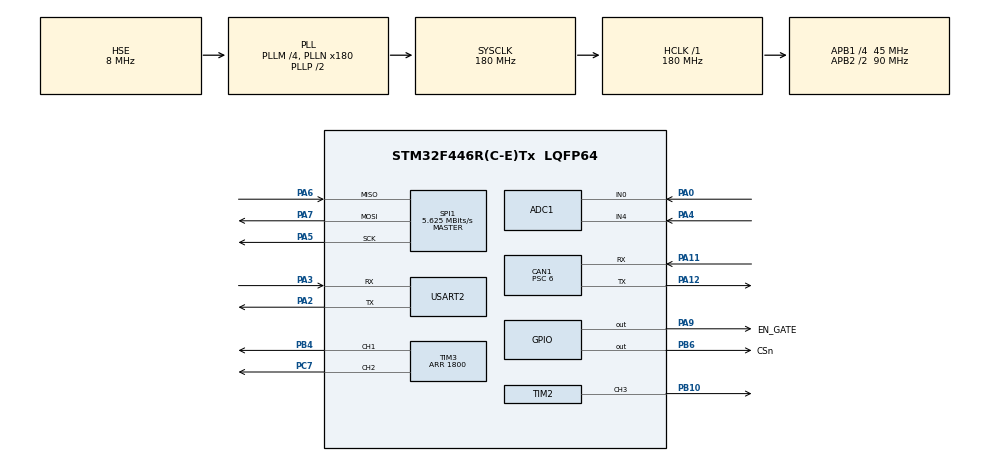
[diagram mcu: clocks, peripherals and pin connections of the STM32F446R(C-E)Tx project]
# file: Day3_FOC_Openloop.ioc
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ADC1.Channel-0\#ChannelRegularConversion=ADC_CHANNEL_0
ADC1.Channel-1\#ChannelRegularConversion=ADC_CHANNEL_4
ADC1.DMAContinuousRequests=ENABLE
ADC1.ExternalTrigConv=ADC_EXTERNALTRIGCONV_T3_TRGO
ADC1.NbrOfConversion=2
ADC1.NbrOfConversionFlag=1
ADC1.Rank-0\#ChannelRegularConversion=1
ADC1.Rank-1\#ChannelRegularConversion=2
ADC1.SamplingTime-0\#ChannelRegularConversion=ADC_SAMPLETIME_84CYCLES
ADC1.SamplingTime-1\#ChannelRegularConversion=ADC_SAMPLETIME_84CYCLES
ADC1.ScanConvMode=ENABLE
ADC1.master=1
CAN1.BS1=CAN_BS1_12TQ
CAN1.BS2=CAN_BS2_2TQ
CAN1.CalculateBaudRate=500000
CAN1.CalculateTimeBit=2000
CAN1.CalculateTimeQuantum=133.33333333333331
CAN1.Prescaler=6
Dma.ADC1.0.Direction=DMA_PERIPH_TO_MEMORY
Dma.ADC1.0.FIFOMode=DMA_FIFOMODE_DISABLE
Dma.ADC1.0.Instance=DMA2_Stream0
Dma.ADC1.0.MemDataAlignment=DMA_MDATAALIGN_HALFWORD
Dma.ADC1.0.MemInc=DMA_MINC_ENABLE
Dma.ADC1.0.Mode=DMA_CIRCULAR
Dma.ADC1.0.PeriphDataAlignment=DMA_PDATAALIGN_HALFWORD
Dma.ADC1.0.PeriphInc=DMA_PINC_DISABLE
Dma.ADC1.0.Priority=DMA_PRIORITY_LOW
Dma.Request0=ADC1
Dma.Request1=SPI1_RX
Dma.Request2=SPI1_TX
Dma.SPI1_RX.1.Direction=DMA_PERIPH_TO_MEMORY
Dma.SPI1_RX.1.FIFOMode=DMA_FIFOMODE_DISABLE
Dma.SPI1_RX.1.Instance=DMA2_Stream2
Dma.SPI1_RX.1.MemDataAlignment=DMA_MDATAALIGN_BYTE
Dma.SPI1_RX.1.MemInc=DMA_MINC_ENABLE
Dma.SPI1_RX.1.Mode=DMA_NORMAL
Dma.SPI1_RX.1.PeriphDataAlignment=DMA_PDATAALIGN_BYTE
Dma.SPI1_RX.1.PeriphInc=DMA_PINC_DISABLE
Dma.SPI1_RX.1.Priority=DMA_PRIORITY_LOW
Dma.SPI1_TX.2.Direction=DMA_MEMORY_TO_PERIPH
Dma.SPI1_TX.2.FIFOMode=DMA_FIFOMODE_DISABLE
Dma.SPI1_TX.2.Instance=DMA2_Stream3
Dma.SPI1_TX.2.MemDataAlignment=DMA_MDATAALIGN_BYTE
Dma.SPI1_TX.2.MemInc=DMA_MINC_ENABLE
Dma.SPI1_TX.2.Mode=DMA_NORMAL
Dma.SPI1_TX.2.PeriphDataAlignment=DMA_PDATAALIGN_BYTE
Dma.SPI1_TX.2.PeriphInc=DMA_PINC_DISABLE
Dma.SPI1_TX.2.Priority=DMA_PRIORITY_LOW
Mcu.Family=STM32F4
Mcu.Name=STM32F446R(C-E)Tx
Mcu.Package=LQFP64
NVIC.CAN1_RX0_IRQn=true\:0\:0\:false\:false\:true\:true\:true\:true
NVIC.DMA2_Stream0_IRQn=true\:0\:0\:false\:false\:true\:false\:true\:true
NVIC.DMA2_Stream2_IRQn=true\:0\:2\:false\:false\:true\:false\:true\:true
NVIC.DMA2_Stream3_IRQn=true\:0\:2\:false\:false\:true\:false\:true\:true
NVIC.PriorityGroup=NVIC_PRIORITYGROUP_0
NVIC.SPI1_IRQn=true\:0\:2\:false\:false\:true\:true\:true\:true
NVIC.TIM3_IRQn=true\:0\:0\:false\:false\:true\:true\:true\:true
NVIC.USART2_IRQn=true\:0\:0\:false\:false\:true\:true\:true\:true
PA0-WKUP.Signal=ADCx_IN0
PA11.Mode=CAN_Activate
PA11.Signal=CAN1_RX
PA12.Mode=CAN_Activate
PA12.Signal=CAN1_TX
PA13.Mode=Serial_Wire
PA13.Signal=SYS_JTMS-SWDIO
PA14.Mode=Serial_Wire
PA14.Signal=SYS_JTCK-SWCLK
PA2.Mode=Asynchronous
PA2.Signal=USART2_TX
PA3.Mode=Asynchronous
PA3.Signal=USART2_RX
PA4.Signal=ADCx_IN4
PA5.Mode=Full_Duplex_Master
PA5.Signal=SPI1_SCK
PA6.Mode=Full_Duplex_Master
PA6.Signal=SPI1_MISO
PA7.Mode=Full_Duplex_Master
PA7.Signal=SPI1_MOSI
PA9.GPIO_Label=EN_GATE
PA9.PinState=GPIO_PIN_SET
PA9.Signal=GPIO_Output
PB10.GPIO_Speed=GPIO_SPEED_FREQ_HIGH
PB10.Signal=S_TIM2_CH3
PB4.Signal=S_TIM3_CH1
PB6.GPIO_Label=CSn
PB6.GPIO_PuPd=GPIO_PULLUP
PB6.GPIO_Speed=GPIO_SPEED_FREQ_HIGH
PB6.PinState=GPIO_PIN_SET
PB6.Signal=GPIO_Output
PC7.GPIO_Speed=GPIO_SPEED_FREQ_HIGH
PC7.Signal=S_TIM3_CH2
PH0-OSC_IN.Mode=HSE-External-Oscillator
PH0-OSC_IN.Signal=RCC_OSC_IN
PH1-OSC_OUT.Mode=HSE-External-Oscillator
PH1-OSC_OUT.Signal=RCC_OSC_OUT
ProjectManager.HeapSize=0x200
ProjectManager.StackSize=0x400
ProjectManager.TargetToolchain=STM32CubeIDE
RCC.48MHZClocksFreq_Value=84000000
RCC.AHBFreq_Value=180000000
RCC.APB1CLKDivider=RCC_HCLK_DIV4
RCC.APB1Freq_Value=45000000
RCC.APB1TimFreq_Value=90000000
RCC.APB2CLKDivider=RCC_HCLK_DIV2
RCC.APB2Freq_Value=90000000
RCC.APB2TimFreq_Value=180000000
RCC.CortexFreq_Value=180000000
RCC.FLatency-AdvancedSettings=FLASH_LATENCY_5
RCC.HCLKFreq_Value=180000000
RCC.HSE_VALUE=8000000
RCC.HSI_VALUE=16000000
RCC.PLLM=4
RCC.PLLN=180
RCC.PLLSourceVirtual=RCC_PLLSOURCE_HSE
RCC.SYSCLKFreq_VALUE=180000000
RCC.SYSCLKSource=RCC_SYSCLKSOURCE_PLLCLK
RCC.USBFreq_Value=180000000
RCC.VCOOutputFreq_Value=360000000
SH.ADCx_IN0.0=ADC1_IN0,IN0
SH.ADCx_IN4.0=ADC1_IN4,IN4
SH.S_TIM2_CH3.0=TIM2_CH3,PWM Generation3 CH3
SH.S_TIM3_CH1.0=TIM3_CH1,PWM Generation1 CH1
SH.S_TIM3_CH2.0=TIM3_CH2,PWM Generation2 CH2
SPI1.BaudRatePrescaler=SPI_BAUDRATEPRESCALER_16
SPI1.CLKPhase=SPI_PHASE_2EDGE
SPI1.CalculateBaudRate=5.625 MBits/s
SPI1.Direction=SPI_DIRECTION_2LINES
SPI1.Mode=SPI_MODE_MASTER
SPI1.VirtualType=VM_MASTER
TIM2.AutoReloadPreload=TIM_AUTORELOAD_PRELOAD_ENABLE
TIM2.Channel-PWM\ Generation3\ CH3=TIM_CHANNEL_3
TIM2.CounterMode=TIM_COUNTERMODE_CENTERALIGNED3
TIM2.Period=1800
TIM2.Pulse-PWM\ Generation3\ CH3=900
TIM2.TIM_MasterOutputTrigger=TIM_TRGO_UPDATE
TIM2.TIM_MasterSlaveMode=TIM_MASTERSLAVEMODE_ENABLE
TIM3.AutoReloadPreload=TIM_AUTORELOAD_PRELOAD_ENABLE
TIM3.Channel-PWM\ Generation1\ CH1=TIM_CHANNEL_1
TIM3.Channel-PWM\ Generation2\ CH2=TIM_CHANNEL_2
TIM3.CounterMode=TIM_COUNTERMODE_CENTERALIGNED3
TIM3.Period=1800
TIM3.Pulse-PWM\ Generation2\ CH2=900
TIM3.TIM_MasterOutputTrigger=TIM_TRGO_UPDATE
TIM3.TIM_MasterSlaveMode=TIM_MASTERSLAVEMODE_ENABLE
USART2.VirtualMode=VM_ASYNC
board=NUCLEO-F446RE

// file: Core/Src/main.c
/* USER CODE BEGIN Header */
/**串口用不了，我在debug里面改theta_target，可以实现控制。希望能优化一下，然后在theta_multi不断增大过程中，电机出现了抖动，在theta_multi不断减小的过程中，电机抖动明显减弱非常多。
 * 这是一个有意思的点。把这个弄完之后，我们就停下来了，准备弄CAN通信了，然后开始上传github，当成制作简历的一个项目。
  ******************************************************************************
  * @file           : main.c
  * @brief          : Main program body
  ******************************************************************************
  * @attention
  *
  * Copyright (c) 2026 STMicroelectronics.
  * All rights reserved.
  *
  * This software is licensed under terms that can be found in the LICENSE file
  * in the root directory of this software component.
  * If no LICENSE file comes with this software, it is provided AS-IS.
  *
  ******************************************************************************
  */
/* USER CODE END Header */
#include "main.h"

/* USER CODE BEGIN Includes */
#include <stdio.h>
#include <math.h>   // 加这一行（sin、PI）
#include <stdlib.h>   // atof
/* USER CODE END Includes */

/* USER CODE BEGIN PTD */
// ===== 回零状态机 =====
typedef enum {
    HOMING_IDLE = 0,    // 未回零(正常工作)
    HOMING_SEARCH,      // 搜索静摩擦突破点
    HOMING_CRUISE,      // 降力矩巡航向挡块
    HOMING_DONE         // 回零完成
} HomingState_t;
/* USER CODE END PTD */

/* USER CODE BEGIN PD */
#define SQRT3_2   0.86602540378f   // √3/2,逆Clark用
#define ADC_VREF      3.3f
#define ADC_RES       4096.0f
#define INA_GAIN      50.0f
#define R_SHUNT       0.01f

#define I_BASE   1.5f
#define U_BASE   6.9282f               // = 12 / √3，SVPWM线性区相电压上限
#define I_BASE_INV   (1.0f / I_BASE)

// 码值差 → 安培: (raw - offset) * Vref / 4096 / (Gain * Rshunt)
#define ADC_TO_AMP(raw, off)  (((float)(raw) - (off)) * ADC_VREF / ADC_RES / (INA_GAIN * R_SHUNT))
#define POS_DEADBAND  0.05f   // 位置环死区(rad),略大于编码器噪声峰峰

// ===== 堵转检测参数 =====
#define STALL_IQ_THRESH    0.7f     // 电流阈值(标幺): |i_q标幺|超过算"在使劲"
#define STALL_MOVE_THRESH  0.01f    // 位置变化阈值(rad): N拍内变化小于此算"没动"
#define STALL_COUNT_MAX    50       // 持续拍数: 连续满足这么多次才判堵转(50×~0.5ms≈25ms)

#define HOMING_TORQUE_RAMP   0.002f   // 力矩每拍爬升步长(标幺), 朝负方向
#define HOMING_TORQUE_MAX    1.5f     // 力矩上限(标幺), 爬到这还没突破=异常
#define HOMING_BREAK_MOVE    0.5f     // 突破判据: 累积位移超此值(rad)算动了
#define HOMING_HOLD_MAX   5000    // 力矩到上限后, 顶住的拍数(400×0.5ms≈200ms)

// ===== 软件位置限位(回零后坐标: 挡块=0, 向左为正) =====
#define POS_LIMIT_MIN   0.0f     // 下限(rad), 挡块内侧留~4mm余量
#define POS_LIMIT_MAX   185.0f   // 上限(rad), 左端留余量(左端开放无挡块!)
/* USER CODE END PD */

ADC_HandleTypeDef hadc1;
DMA_HandleTypeDef hdma_adc1;

CAN_HandleTypeDef hcan1;

SPI_HandleTypeDef hspi1;
DMA_HandleTypeDef hdma_spi1_rx;
DMA_HandleTypeDef hdma_spi1_tx;

TIM_HandleTypeDef htim2;
TIM_HandleTypeDef htim3;

UART_HandleTypeDef huart2;

/* USER CODE BEGIN PV */
volatile uint32_t isr_counter = 0;
volatile float theta_isr = 0.0f;
volatile uint16_t angle_raw_isr = 0;     // 中断里读的编码器原始值
volatile float angle_deg_isr = 0.0f;     // 中断里算的编码器角度
volatile float Uq_cmd = 0.0f;   // 交轴电压指令(转矩),先给0,跑通后串口调
volatile float Ud_cmd = 0.0f;   // 直轴电压指令,开环恒为0
volatile float Ua_dbg = 0.0f;   // 调试用:三相电压,中断写,主循环读
volatile float Ub_dbg = 0.0f;
volatile float Uc_dbg = 0.0f;
volatile uint8_t sector_dbg = 0;
volatile float theta_offset = 0.0f;   // 编码器零位偏移(校准得到)
volatile float theta_e_global = 0.0f;   // 主循环更新,中断使用
uint16_t adc_buf[2];        // DMA 接收缓冲: [0]=A相(IN0/PA0), [1]=B相(IN4/PA4)
float offset_A = 0, offset_B = 0;   // 提全局,FOC中断里换算电流要用
float i_a = 0, i_b = 0, i_c = 0;    // 三相电流(安培),给VOFA看
volatile float i_alpha = 0, i_beta = 0;   // Clark输出
volatile float i_d = 0, i_q = 0;          // Park输出(直流量)
typedef struct {
    float Kp, Ki, integral, out_max, out_min;
} PI_Controller;
PI_Controller pi_id = {0};
PI_Controller pi_iq = {0};
volatile float iq_ref = 0.0f;   // q轴电流指令
// ===== SPI DMA 流水线 =====
uint8_t spi_tx_buf[2] = {0};
uint8_t spi_rx_buf[2] = {0};
volatile uint16_t angle_raw_dma = 0;     // DMA读回的原始角度
volatile uint8_t  spi_busy = 0;          // 1=DMA进行中,防重入
volatile uint32_t spi_cb_count = 0;
volatile HAL_StatusTypeDef spi_kick_ret = HAL_OK;   // Kick时HAL返回值
volatile uint32_t spi_state_dbg = 0;                // 踢之前的HAL State
volatile float theta_comp = -1.3f;   // 对齐补偿角,调试时手动改
volatile float delta_theta_dbg = 0.0f;
volatile float theta_force = 0.0f;     // 开环强制电角度
volatile float open_loop_speed = 0.0f; // 每拍递增量(电角速度)
volatile float open_loop_volt = 0.8f;  // 开环电压幅值(V)
// ===== 速度估计 =====
volatile float omega_e = 0.0f;        // 电角速度估计(rad/s),滤波后
volatile float theta_e_prev = 0.0f;   // 上一次电角度(算微分用)
volatile float omega_raw = 0.0f;      // 微分原始值(滤波前,调试看)
PI_Controller pi_speed = {0};         // 速度环PI
volatile float omega_ref = 0.0f;      // 目标电角速度(rad/s)

// ===== PLL 速度观测器 =====
typedef struct {
    float theta_hat;   // 估计机械角(rad)
    float omega_hat;   // 估计机械角速度(rad/s)
    float Kp;          // PLL比例增益
    float Ki;          // PLL积分增益
    float Ts;          // 采样周期(s)
} PLL_Observer;

PLL_Observer pll = {0};
// ===== M法测速: 环形缓冲存历史电角度 =====
#define SPEED_WIN  10              // 测速窗口(拍数),先10试
float theta_hist[SPEED_WIN] = {0};   // 历史电角度环形缓冲
volatile uint8_t hist_idx = 0;       // 环形缓冲写指针
// ===== 位置环参数 =====
float    theta_target   = 0.0f;    // 目标机械角(rad), 调试时手动改这个看"指哪打哪"
float    omega_max_mech = 3.0f;    // 机械角ω_ref限幅(rad/s), 防误差大时飞车
// 标幺化: 电流量纲增益 ÷I_base (×0.6667), 输出从安培变标幺
float    Kp_pos         = 0.2f;     // 0.8 / 1.5
float    Kd_pos         = 0.005f;   // 0.01 / 1.5
float    Ki_pos         = 0.0002f;  // 0.001 / 1.5
// ===== 多圈累加角 =====
float theta_multi = 0.0f;        // 多圈连续机械角(rad), 可超出0~2π
float theta_m_last = 0.0f;       // 上一拍单圈机械角(检测过零用)
volatile int32_t turns = 0;      // 圈数计数(调试看)
volatile float theta_target_final = 0.0f;   // 最终目标(你真正想去的位置)
float theta_ramp_rate = 0.0001f;    // 每拍爬升步长(rad/拍), 决定转速; 先小

// ===== 串口接收指令 =====
uint8_t rx_byte;                 // 单字节接收
char rx_cmd_buf[32];             // 命令字符串缓冲
volatile uint8_t rx_cmd_idx = 0; // 缓冲写指针

// float ↔ 4字节 互转, 用于把CAN数据段还原成角度
typedef union {
    float    f;
    uint8_t  b[4];
} float_bytes_t;

CAN_RxHeaderTypeDef RxHeader;   // 接收帧头
uint8_t RxData[8];              // 接收数据缓冲

// ===== 控制模式 =====
typedef enum { MODE_POSITION = 0, MODE_TORQUE = 1 } ControlMode_t;
volatile ControlMode_t control_mode = MODE_TORQUE;   // 改: 上电默认力矩模式
volatile float torque_ref = 0.0f;   // 外部力矩指令(标幺, 范围-1.0~1.0, 对应±1.5A的iq)

volatile float pos_integral = 0.0f;   // 位置环积分(提全局, 供模式切换清零)

volatile uint32_t rx_irq_count = 0;   // RX中断进入次数(调试)
volatile char last_cmd_char = 0;     // 加到 PV 区
volatile uint8_t last_cmd_len = 0;
volatile uint8_t rx_byte_dbg = 0;   // 抓每个进中断的原始字节
volatile float Kff = 0.0003f;   // 反电势前馈增益, 先0(基准), debug里调
volatile float Uq_ff_dbg = 0.0f;  // 前馈量, 调试看

// ===== 堵转检测状态 =====
volatile uint8_t  stall_flag = 0;        // 堵转标志: 1=检测到堵转
volatile uint16_t stall_counter = 0;     // 连续满足条件的计数
float    theta_multi_last_stall = 0.0f;  // 上次检测时的多圈角(算变化用)

// ===== 回零状态机 =====
volatile HomingState_t homing_state = HOMING_IDLE;   // 当前回零状态
volatile float homing_torque = 0.0f;                 // 回零过程的力矩输出
float homing_t_break = 0.0f;                          // 记录的突破力矩
float homing_start_pos = 0.0f;   // SEARCH起点位置(算突破位移用)
volatile uint16_t homing_hold_counter = 0;
/* USER CODE END PV */

void SystemClock_Config(void);
static void MX_GPIO_Init(void);
static void MX_DMA_Init(void);
static void MX_TIM2_Init(void);
static void MX_TIM3_Init(void);
static void MX_USART2_UART_Init(void);
static void MX_SPI1_Init(void);
static void MX_ADC1_Init(void);
static void MX_CAN1_Init(void);

/* USER CODE BEGIN 0 */
// printf 重定向：覆盖 newlib 默认的 _write 弱定义
int _write(int fd, char *ptr, int len)
{
    HAL_UART_Transmit(&huart2, (uint8_t*)ptr, len, HAL_MAX_DELAY);
    return len;
}
/**
 * @brief 读取 AS5047P 角度寄存器
 * @retval 14位原始角度值 (0~16383)
 *
 * 注意：第一次调用返回的是"前一次"的数据（SPI 延迟响应特性）
 *      连续调用时，第 N 次返回第 N-1 次请求的数据
 */
#define AS5047_REG_ANGLE       0x3FFF
#define AS5047_CMD_READ        0x4000
#define AS5047_PARITY_BIT      0x8000
#define AS5047_CMD_READ_ANGLE  (AS5047_REG_ANGLE | AS5047_CMD_READ | AS5047_PARITY_BIT)
#define AS5047_ANGLE_MASK      0x3FFFU

uint16_t AS5047_ReadAngle(void)
{
    uint8_t tx_buf[2] = { (AS5047_CMD_READ_ANGLE >> 8) & 0xFF,
                          (AS5047_CMD_READ_ANGLE)      & 0xFF };
    uint8_t rx_buf[2] = {0};

    HAL_GPIO_WritePin(CSn_GPIO_Port, CSn_Pin, GPIO_PIN_RESET);

    HAL_SPI_TransmitReceive(&hspi1, tx_buf, rx_buf, 2, 100);

    HAL_GPIO_WritePin(CSn_GPIO_Port, CSn_Pin, GPIO_PIN_SET);

    uint16_t raw = (rx_buf[0] << 8) | rx_buf[1];
    return raw & AS5047_ANGLE_MASK;
}
/**
 * @brief 非阻塞踢一帧 SPI DMA 读角度
 *        CS拉低 → 启动DMA收发 → 立即返回(不等待)
 *        传输完成由 HAL_SPI_TxRxCpltCallback 收尾
 */
//void AS5047_ReadAngle_DMA_Kick(void)
//{
//    if (spi_busy) return;            // 上一帧还没传完,跳过(防重入)
//    spi_state_dbg = HAL_SPI_GetState(&hspi1);   // ★记录踢之前的State
//    if (spi_state_dbg != HAL_SPI_STATE_READY) return;
//    spi_busy = 1;
//    HAL_GPIO_WritePin(CSn_GPIO_Port, CSn_Pin, GPIO_PIN_RESET);
////    spi_kick_ret = HAL_SPI_Receive_DMA(&hspi1, spi_rx_buf, 2);  // ★只收不发
//    spi_kick_ret = HAL_SPI_TransmitReceive_DMA(&hspi1, spi_tx_buf, spi_rx_buf, 2);  // ★记录返回值
//    if (spi_kick_ret != HAL_OK)
//    {
//        spi_busy = 0;
//        HAL_GPIO_WritePin(CSn_GPIO_Port, CSn_Pin, GPIO_PIN_SET);
//    }
//}
void AS5047_ReadAngle_DMA_Kick(void)
{
    if (spi_busy) return;

    HAL_SPI_StateTypeDef st = HAL_SPI_GetState(&hspi1);
    if (st != HAL_SPI_STATE_READY)
    {
        // ★HAL状态机锁死(BUSY/ERROR),强制复位恢复
        HAL_SPI_Abort(&hspi1);              // 中止当前传输
        __HAL_SPI_DISABLE(&hspi1);
        hspi1.ErrorCode = HAL_SPI_ERROR_NONE;
        hspi1.State = HAL_SPI_STATE_READY;  // 强制拉回READY
        __HAL_SPI_ENABLE(&hspi1);
        HAL_GPIO_WritePin(CSn_GPIO_Port, CSn_Pin, GPIO_PIN_SET);  // CS归位
        spi_busy = 0;
        return;   // 这一拍先恢复,下一拍正常踢
    }

    spi_busy = 1;
    HAL_GPIO_WritePin(CSn_GPIO_Port, CSn_Pin, GPIO_PIN_RESET);
    spi_kick_ret = HAL_SPI_TransmitReceive_DMA(&hspi1, spi_tx_buf, spi_rx_buf, 2);
    if (spi_kick_ret != HAL_OK)
    {
        spi_busy = 0;
        HAL_GPIO_WritePin(CSn_GPIO_Port, CSn_Pin, GPIO_PIN_SET);
    }
}
/**
 * @brief SPI DMA 传输完成回调(HAL硬件自动调用)
 *        CS拉高 → 解析角度 → 清busy
 */
void HAL_SPI_TxRxCpltCallback(SPI_HandleTypeDef *hspi)
//void HAL_SPI_RxCpltCallback(SPI_HandleTypeDef *hspi)   // ★TxRx → Rx
{
    if (hspi->Instance == SPI1)
    {
        HAL_GPIO_WritePin(CSn_GPIO_Port, CSn_Pin, GPIO_PIN_SET);  // CS↑
        uint16_t raw = (spi_rx_buf[0] << 8) | spi_rx_buf[1];
        angle_raw_dma = raw & AS5047_ANGLE_MASK;
        spi_busy = 0;          // ★清忙标志,这是关键!
        spi_cb_count++;
    }
}

// ============== 开环 SPWM ==============

#define PWM_ARR             1800.0f         // ARR 值（M2 设定的）
#define PWM_CENTER          900.0f          // 50% 占空比对应的 CCR
#define VBUS                12.0f            // 输出正弦电压幅值 (V)，5010 限流值 // 电源电压 (V)
#define U_AMPLITUDE         1.0f
#define POLE_PAIRS          7               // 5010 极对数
#define TWO_PI              6.28318530718f
#define TWO_PI_OVER_3       2.09439510239f  // 120°
#define PI 					3.14159265f
/**
 * @brief 设置三相 PWM 占空比
 * @param Ua, Ub, Uc 三相电压指令 (-VBUS/2 ~ +VBUS/2)
 */
void SetThreePhasePWM(float Ua, float Ub, float Uc)
{
    // 把电压转换成 CCR 值：50% + (U/Vbus) × ARR
    int32_t ccr_a = (int32_t)(PWM_CENTER + (Ua / VBUS) * PWM_ARR);
    int32_t ccr_b = (int32_t)(PWM_CENTER + (Ub / VBUS) * PWM_ARR);
    int32_t ccr_c = (int32_t)(PWM_CENTER + (Uc / VBUS) * PWM_ARR);

    // 限幅保护：不能超出 [0, ARR] 范围
    if (ccr_a < 0) ccr_a = 0; else if (ccr_a > (int32_t)PWM_ARR) ccr_a = (int32_t)PWM_ARR;
    if (ccr_b < 0) ccr_b = 0; else if (ccr_b > (int32_t)PWM_ARR) ccr_b = (int32_t)PWM_ARR;
    if (ccr_c < 0) ccr_c = 0; else if (ccr_c > (int32_t)PWM_ARR) ccr_c = (int32_t)PWM_ARR;

    // 写入对应 CCR 寄存器（M2 的引脚映射）
    __HAL_TIM_SET_COMPARE(&htim3, TIM_CHANNEL_2, ccr_a);  // PC7 → Phase A
    __HAL_TIM_SET_COMPARE(&htim3, TIM_CHANNEL_1, ccr_b);  // PB4 → Phase B
    __HAL_TIM_SET_COMPARE(&htim2, TIM_CHANNEL_3, ccr_c);  // PB10 → Phase C
}
// ============== SVPWM 七段式 ==============
#define SVPWM_TS   PWM_ARR     // 一个PWM周期 = ARR(1800)
//#define SVPWM_TS   (PWM_ARR * 2.0f)   // 中心对齐,周期是2倍
void SVPWM(float U_alpha, float U_beta)
{
    // 反Clark: αβ → 三相参考电压
    float Ua = U_alpha;
    float Ub = -0.5f * U_alpha + SQRT3_2 * U_beta;
    float Uc = -0.5f * U_alpha - SQRT3_2 * U_beta;

    // 注入法核心: min-max共模(七段式的数学等价实现)
    float Vmax = fmaxf(Ua, fmaxf(Ub, Uc));
    float Vmin = fminf(Ua, fminf(Ub, Uc));
    float Vcom = 0.5f * (Vmax + Vmin);

    // 减去共模 + 归一化到占空比[0,1],再×ARR
    // (Ux - Vcom)/Vdc 得到[-0.5,0.5],+0.5居中,×ARR得CCR
    float duty_a = ((Ua - Vcom) / VBUS + 0.5f) * PWM_ARR;
    float duty_b = ((Ub - Vcom) / VBUS + 0.5f) * PWM_ARR;
    float duty_c = ((Uc - Vcom) / VBUS + 0.5f) * PWM_ARR;

    // 限幅
    if (duty_a < 0) duty_a = 0; else if (duty_a > PWM_ARR) duty_a = PWM_ARR;
    if (duty_b < 0) duty_b = 0; else if (duty_b > PWM_ARR) duty_b = PWM_ARR;
    if (duty_c < 0) duty_c = 0; else if (duty_c > PWM_ARR) duty_c = PWM_ARR;

    Ua_dbg = duty_a; Ub_dbg = duty_b; Uc_dbg = duty_c;

    __HAL_TIM_SET_COMPARE(&htim3, TIM_CHANNEL_2, (uint32_t)duty_a);  // PC7 → A
    __HAL_TIM_SET_COMPARE(&htim3, TIM_CHANNEL_1, (uint32_t)duty_b);  // PB4 → B
    __HAL_TIM_SET_COMPARE(&htim2, TIM_CHANNEL_3, (uint32_t)duty_c);  // PB10 → C
}
/**
 * @brief 编码器零位校准(强制定向法)
 * 强行给d轴电压,把转子吸到电气零点,记下编码器读数作为offset
 */
void Encoder_Calibrate(void)
{
    // 强制电角度=0方向输出电压(Ud方向),把转子吸到电气零点
    // 用SVPWM直接给一个指向α轴(θe=0)的电压
    float Ud_align = 3.0f;   // 对齐电压,够把转子吸过去即可
    // θe=0时: Uα=Ud, Uβ=0
    SVPWM(Ud_align, 0.0f);
    printf("aligning...\n");   // ← 加这行,确认校准在跑
    HAL_Delay(1000);   // 等转子稳定对齐(听到"咔")

    // 读此刻编码器机械角(弧度),就是offset
//    uint16_t raw = AS5047_ReadAngle();
//    theta_offset = (float)raw / 16384.0f * TWO_PI;
    AS5047_ReadAngle();              // 第一次:丢弃(延迟响应,返回上一帧)
    HAL_Delay(1);
    uint16_t raw = AS5047_ReadAngle();   // 第二次:当前真实角度
    theta_offset = (float)raw / 16384.0f * TWO_PI;
    // 松开,电压归零
    SVPWM(0.0f, 0.0f);
    HAL_Delay(500);
}

float PI_Update(PI_Controller *pi, float error)
{
    float p_out = pi->Kp * error;
    pi->integral += pi->Ki * error;
    if (pi->integral > pi->out_max) pi->integral = pi->out_max;
    else if (pi->integral < pi->out_min) pi->integral = pi->out_min;
    float output = p_out + pi->integral;
    if (output > pi->out_max) output = pi->out_max;
    else if (output < pi->out_min) output = pi->out_min;
    return output;
}
void PLL_Update(PLL_Observer *p, float theta_m)
{
    float err = theta_m - p->theta_hat;
    while (err >  PI) err -= TWO_PI;
    while (err < -PI) err += TWO_PI;

    p->omega_hat += p->Ki * err * p->Ts;          // 积分项累加(这就是平滑速度)
    p->theta_hat += (p->omega_hat + p->Kp * err) * p->Ts;  // 角度更新(含比例修正)

    if (p->theta_hat >= TWO_PI) p->theta_hat -= TWO_PI;
    if (p->theta_hat <  0)      p->theta_hat += TWO_PI;
}
// 平滑速度取 p->omega_hat (机械角速度), ×POLE_PAIRS 得电角速度

/**
 * @brief 切换控制模式, 并清理切换瞬间的隐患
 * @param new_mode  MODE_POSITION 或 MODE_TORQUE
 *
 * 切换动作(无论往哪切都做):
 *   1. iq_ref 清零 → 切换瞬间不出力, 避免旧指令残留导致跳变
 *   2. pos_integral 清零 → 防止位置环积分windup(力矩模式期间冻结的旧积分)
 *   3. torque_ref 清零 → 切到力矩模式时从0开始, 防上一次的力矩值突然加上
 */
void SetControlMode(ControlMode_t new_mode)
{
    iq_ref       = 0.0f;
    pos_integral = 0.0f;
    torque_ref   = 0.0f;
    pi_speed.integral = 0.0f;   // ★加这行:清速度环积分,防切入瞬间跳变
    if (new_mode == MODE_POSITION)
    {
        // 切回位置模式: 把目标设成当前实际位置, 避免"指哪打哪"瞬间猛冲
        theta_target_final = theta_multi;
        theta_target       = theta_multi;
    }

    control_mode = new_mode;   // 最后才改模式, 前面的清零先生效
}
/* USER CODE END 0 */

int main(void)
{

  /* MCU Configuration--------------------------------------------------------*/

  /* Reset of all peripherals, Initializes the Flash interface and the Systick. */
  HAL_Init();

  /* Configure the system clock */
  SystemClock_Config();

  /* Initialize all configured peripherals */
  MX_GPIO_Init();
  MX_DMA_Init();
  MX_TIM2_Init();
  MX_TIM3_Init();
  MX_USART2_UART_Init();
  MX_SPI1_Init();
  MX_ADC1_Init();
  MX_CAN1_Init();
  /* USER CODE BEGIN 2 */
  HAL_Delay(200);          // 等 200ms,让 3.3V/VREF/INA 供电稳定

  spi_tx_buf[0] = (AS5047_CMD_READ_ANGLE >> 8) & 0xFF;  // 0xFF
    spi_tx_buf[1] = (AS5047_CMD_READ_ANGLE)      & 0xFF;  // 0xFF

  // ======== 第一步:电流零偏校准(必须在任何通电动作之前)========
  HAL_ADC_Start_DMA(&hadc1, (uint32_t*)adc_buf, 2);

  HAL_GPIO_WritePin(EN_GATE_GPIO_Port, EN_GATE_Pin, GPIO_PIN_RESET);  // EN 拉低,无电流
  HAL_Delay(50);
  // PWM 启动顺序：先启 Slave，再启 Master
  // 原因：Slave 等触发才走，先启 Slave 让它"待命"，再启 Master 同步开闸
  HAL_TIM_PWM_Start(&htim2, TIM_CHANNEL_3);
  HAL_TIM_PWM_Start(&htim3, TIM_CHANNEL_1);
  HAL_TIM_PWM_Start(&htim3, TIM_CHANNEL_2);
  offset_A = 0;        // ← 删掉 float,否则新建局部变量遮蔽全局
  offset_B = 0;
  float sum_A = 0, sum_B = 0;
//  for (int i = 0; i < 1000; i++) {
//      HAL_ADC_Start(&hadc1);
//      HAL_Delay(1);
//      sum_A += adc_buf[0];
//      sum_B += adc_buf[1];
//  }
  // 校准循环改成同样的轮询读法
  for (int i = 0; i < 1000; i++) {
      HAL_Delay(1);              // 等DMA刷新(TRGO每PWM周期都在触发)
      sum_A += adc_buf[0];
      sum_B += adc_buf[1];
  }
  offset_A = sum_A / 1000.0f;
  offset_B = sum_B / 1000.0f;
  printf("offset: %.1f, %.1f\n", offset_A, offset_B);
  // 使能 L6234 驱动芯片（拉高 EN_GATE）
  HAL_GPIO_WritePin(EN_GATE_GPIO_Port, EN_GATE_Pin, GPIO_PIN_SET);
  HAL_Delay(10);  // 等 L6234 启动稳定

  // ★Step6: 编码器零位校准(必须在开中断前,避免虚拟theta干扰)
  Uq_cmd = 0.0f;        // 确保校准时无杂散指令
  Ud_cmd = 0.0f;
  Encoder_Calibrate();  // 强制对齐,测offset

  // 标幺化后等价缩放: Kp_new = Kp_old × (I_base/U_base) = ×0.2165
  pi_id.Kp = 0.108f;  pi_id.Ki = 0.00217f;
  pi_iq.Kp = 0.108f;  pi_iq.Ki = 0.00217f;

  pi_id.out_max = 0.95f;  pi_id.out_min = -0.95f;   // 标幺电压限幅，留5%余量防过调制
  pi_iq.out_max = 0.95f;  pi_iq.out_min = -0.95f;
  pi_id.integral = 0;  pi_iq.integral = 0;
  // ★Step2: 开控制中断前,先踢一帧DMA"预热"
  //   否则第一拍中断读 angle_raw_dma 还是0(没人踢过),θe会是无效值
  // ===== 速度环参数(初始化跑一次,别放while里) =====
  pi_speed.Kp = 0.001f;
  pi_speed.Ki = 0.0001f;
  pi_speed.out_max =  1.0f;
  pi_speed.out_min = -1.0f;
  pi_speed.integral = 0;
  //   预热后第一拍就有真实角度可取,流水线立即满载

  // ===== PLL观测器初始化 (fn=80Hz, ζ=0.707) =====
    pll.Ts = 0.0001f;   // 采样周期=测速节奏=1ms(和原M法同节奏)
    float pll_wn = 2.0f * PI * 80.0f;     // ωn, 带宽80Hz
    pll.Kp = 2.0f * 0.707f * pll_wn;      // ≈710
    pll.Ki = pll_wn * pll_wn;             // ≈252000
    pll.theta_hat  = theta_target;        // 初值=当前机械角(你前面已读), 避免启动猛冲
    pll.omega_hat  = 0.0f;

  AS5047_ReadAngle_DMA_Kick();
  HAL_Delay(1);   // 等这帧DMA传回(后台~3µs,给足余量)

  {
//      uint16_t raw0 = angle_raw_dma;
//      theta_target = (float)raw0 / 16384.0f * TWO_PI;   // 当前机械角
      theta_target = 0.0f;   // 与theta_multi初值(0)对齐, 上电原地不动
  }
  // 启动UART接收中断(单字节, 收到后进回调)
  HAL_UART_Receive_IT(&huart2, &rx_byte, 1);
  // 启动 TIM3 Update 中断
  __HAL_TIM_ENABLE_IT(&htim3, TIM_IT_UPDATE);
//  // 占空比测试（50% = 1.65V 平均电压）
//  __HAL_TIM_SET_COMPARE(&htim3, TIM_CHANNEL_1, 900);
//  __HAL_TIM_SET_COMPARE(&htim3, TIM_CHANNEL_2, 900);
//  __HAL_TIM_SET_COMPARE(&htim2, TIM_CHANNEL_3, 900);

  /* USER CODE END 2 */

  /* Infinite loop */
  /* USER CODE BEGIN WHILE */

  while (1)
  {
//	  pi_speed.Kp = 0.002f;   // 速度环Kp(先小,稳了再加)
//	    pi_speed.Ki = 0.0002f;  // 速度环Ki
//	    pi_speed.out_max =  1.5f;   // iq_ref上限 = 电流限幅
//	    pi_speed.out_min = -1.5f;
//	    pi_speed.integral = 0;
//	    omega_ref = 0.0f;   // ★目标电角速度50rad/s(慢速起步)
//	    // 不要再写 iq_ref!
//	    HAL_Delay(10);
//	    omega_ref = 0.0f;   // 先不驱动
//	    printf("%.2f,%.2f\n", omega_raw, omega_e);
//	    HAL_Delay(10);
//	    printf("%.2f,%.2f,%.3f\n", omega_ref, omega_e, iq_ref);
//	    HAL_Delay(1);   // 1kHz发送,够看抖动
//	  printf("%.3f,%.3f,%.3f,%.4f\n",
//	            i_d,            // ch0: d轴电流(卡住时应该≈0, 若不为0=对齐残差)
//	            i_q,            // ch1: q轴电流
//	            theta_e_global, // ch2: 当前电角度
//	            theta_target - (float)angle_raw_dma/16384.0f*TWO_PI);  // ch3: 位置误差(rad)

//	  printf("%.3f,%.3f,%.2f,%.2f,%.2f\n",
//	         (float)angle_raw_dma / 16384.0f * TWO_PI,
//	         theta_multi,
//	         (float)turns, i_d, i_q);   // ★turns强转float, 对上%.2f
////	   printf("%.3f,%.3f,%.3f\n", i_d, i_q, theta_e_global);  // d轴电流, q轴电流, 电角度
////	    printf("%.4f,%.4f,%.4f,%.2f,%.2f,%.2f,%.3f\n",
////	               (float)angle_raw_dma / 16384.0f * TWO_PI,  // ch0: 真实机械角theta_m
////	               pll.theta_hat,                              // ch1: PLL估计角theta_hat
////	               pll.theta_hat - (float)angle_raw_dma / 16384.0f * TWO_PI,  // ch2: 滞后误差(rad)
////	               pll.omega_hat,omega_ref, omega_e, iq_ref);                             // ch3: PLL机械角速度
//	        HAL_Delay(1);
//      printf("%.1f,%.1f,%.3f,%.3f\n",
//             omega_ref,   // ch0: 目标电角速度
//             omega_e,     // ch1: 实际电角速度(PLL)
//             i_d,         // ch2: d轴电流
//             i_q);        // ch3: q轴电流
//    		  printf("%.2f,%.1f,%.3f,%.3f\n",
//    		               theta_multi,                    // ch0: 多圈累加角(rad)
//    		               theta_multi * 0.7958f,          // ch1: 换算位移(mm), =theta_multi/(2π)×5
//    		               (float)turns,                   // ch2: 圈数(整数, 强转float对齐格式)
//    		               i_q);                           // ch3: q轴电流(A), 看推力够不够
//	  printf("%.2f,%.1f,%.3f,%.1f\n",
//	               theta_multi,                    // ch0: 多圈角(rad)
//	               i_q,                            // ch1: q轴电流(A), 看使劲没
//	               theta_multi * 0.7958f,          // ch2: 位移(mm)
//	               (float)stall_flag);             // ch3: 堵转标志(0/1), 撞挡块应跳1
//	  printf("%.2f,%.1f,%.1f,%.1f\n",
//	  	               theta_multi,                    // ch0: 多圈角(rad)
//	  	               i_q,                            // ch1: q轴电流(A)
//	  	               (float)stall_flag,              // ch2: 堵转标志
//	  	               (float)homing_state);           // ch3: 回零状态(0=IDLE,1=SEARCH,2=CRUISE,3=DONE)
	  printf("%.2f,%.1f,%.1f,%.1f,%.1f\n",
	  	  	               theta_multi,                    //实际角度
						   theta_target_final,             //目标角度
						   theta_target_final * 0.7958f,// 目标位置(mm)
						   theta_multi * 0.7958f,//  实际位置(mm)
	  	  	               iq_ref);           // 力矩
//	        printf("%.3f,%.3f,%.3f,%.3f,%.3f\n",
//	               theta_target_final,                          // ch0: CAN收到的目标角(主板发来的)
//	               (float)angle_raw_dma / 16384.0f * TWO_PI,    // ch1: 从板当前实际角
//	               theta_multi,i_d,i_q);                                // ch2: 从板多圈角
	        HAL_Delay(10);
    /* USER CODE END WHILE */

  }
}

void SystemClock_Config(void)
{
  RCC_OscInitTypeDef RCC_OscInitStruct = {0};
  RCC_ClkInitTypeDef RCC_ClkInitStruct = {0};

  /** Configure the main internal regulator output voltage
  */
  __HAL_RCC_PWR_CLK_ENABLE();
  __HAL_PWR_VOLTAGESCALING_CONFIG(PWR_REGULATOR_VOLTAGE_SCALE1);

  /** Initializes the RCC Oscillators according to the specified parameters
  * in the RCC_OscInitTypeDef structure.
  */
  RCC_OscInitStruct.OscillatorType = RCC_OSCILLATORTYPE_HSE;
  RCC_OscInitStruct.HSEState = RCC_HSE_ON;
  RCC_OscInitStruct.PLL.PLLState = RCC_PLL_ON;
  RCC_OscInitStruct.PLL.PLLSource = RCC_PLLSOURCE_HSE;
  RCC_OscInitStruct.PLL.PLLM = 4;
  RCC_OscInitStruct.PLL.PLLN = 180;
  RCC_OscInitStruct.PLL.PLLP = RCC_PLLP_DIV2;
  RCC_OscInitStruct.PLL.PLLQ = 2;
  RCC_OscInitStruct.PLL.PLLR = 2;
  if (HAL_RCC_OscConfig(&RCC_OscInitStruct) != HAL_OK)
  {
    Error_Handler();
  }

  /** Activate the Over-Drive mode
  */
  if (HAL_PWREx_EnableOverDrive() != HAL_OK)
  {
    Error_Handler();
  }

  /** Initializes the CPU, AHB and APB buses clocks
  */
  RCC_ClkInitStruct.ClockType = RCC_CLOCKTYPE_HCLK|RCC_CLOCKTYPE_SYSCLK
                              |RCC_CLOCKTYPE_PCLK1|RCC_CLOCKTYPE_PCLK2;
  RCC_ClkInitStruct.SYSCLKSource = RCC_SYSCLKSOURCE_PLLCLK;
  RCC_ClkInitStruct.AHBCLKDivider = RCC_SYSCLK_DIV1;
  RCC_ClkInitStruct.APB1CLKDivider = RCC_HCLK_DIV4;
  RCC_ClkInitStruct.APB2CLKDivider = RCC_HCLK_DIV2;

  if (HAL_RCC_ClockConfig(&RCC_ClkInitStruct, FLASH_LATENCY_5) != HAL_OK)
  {
    Error_Handler();
  }
}

static void MX_ADC1_Init(void)
{

  ADC_ChannelConfTypeDef sConfig = {0};

  /** Configure the global features of the ADC (Clock, Resolution, Data Alignment and number of conversion)
  */
  hadc1.Instance = ADC1;
  hadc1.Init.ClockPrescaler = ADC_CLOCK_SYNC_PCLK_DIV4;
  hadc1.Init.Resolution = ADC_RESOLUTION_12B;
  hadc1.Init.ScanConvMode = ENABLE;
  hadc1.Init.ContinuousConvMode = DISABLE;
  hadc1.Init.DiscontinuousConvMode = DISABLE;
  hadc1.Init.ExternalTrigConvEdge = ADC_EXTERNALTRIGCONVEDGE_RISING;
  hadc1.Init.ExternalTrigConv = ADC_EXTERNALTRIGCONV_T3_TRGO;
  hadc1.Init.DataAlign = ADC_DATAALIGN_RIGHT;
  hadc1.Init.NbrOfConversion = 2;
  hadc1.Init.DMAContinuousRequests = ENABLE;
  hadc1.Init.EOCSelection = ADC_EOC_SINGLE_CONV;
  if (HAL_ADC_Init(&hadc1) != HAL_OK)
  {
    Error_Handler();
  }

  /** Configure for the selected ADC regular channel its corresponding rank in the sequencer and its sample time.
  */
  sConfig.Channel = ADC_CHANNEL_0;
  sConfig.Rank = 1;
  sConfig.SamplingTime = ADC_SAMPLETIME_84CYCLES;
  if (HAL_ADC_ConfigChannel(&hadc1, &sConfig) != HAL_OK)
  {
    Error_Handler();
  }

  /** Configure for the selected ADC regular channel its corresponding rank in the sequencer and its sample time.
  */
  sConfig.Channel = ADC_CHANNEL_4;
  sConfig.Rank = 2;
  if (HAL_ADC_ConfigChannel(&hadc1, &sConfig) != HAL_OK)
  {
    Error_Handler();
  }

}

static void MX_CAN1_Init(void)
{

  hcan1.Instance = CAN1;
  hcan1.Init.Prescaler = 6;
  hcan1.Init.Mode = CAN_MODE_NORMAL;
  hcan1.Init.SyncJumpWidth = CAN_SJW_1TQ;
  hcan1.Init.TimeSeg1 = CAN_BS1_12TQ;
  hcan1.Init.TimeSeg2 = CAN_BS2_2TQ;
  hcan1.Init.TimeTriggeredMode = DISABLE;
  hcan1.Init.AutoBusOff = DISABLE;
  hcan1.Init.AutoWakeUp = DISABLE;
  hcan1.Init.AutoRetransmission = DISABLE;
  hcan1.Init.ReceiveFifoLocked = DISABLE;
  hcan1.Init.TransmitFifoPriority = DISABLE;
  if (HAL_CAN_Init(&hcan1) != HAL_OK)
  {
    Error_Handler();
  }
  /* USER CODE BEGIN CAN1_Init 2 */
  CAN_FilterTypeDef sFilterConfig;   // 滤波器配置结构体

  sFilterConfig.FilterBank           = 0;                       // 用第0组滤波器(单CAN, 0~13都行)
  sFilterConfig.FilterMode           = CAN_FILTERMODE_IDMASK;   // 掩码模式
  sFilterConfig.FilterScale          = CAN_FILTERSCALE_32BIT;   // 32位单滤波器(标准帧也用32位最简单)

  sFilterConfig.FilterIdHigh         = 0x101 << 5;   // 放行ID=0x101, 标准ID左移5位到高16位字段
  sFilterConfig.FilterIdLow          = 0x0000;       // 低16位不用
  sFilterConfig.FilterMaskIdHigh     = 0x7FF << 5;   // 掩码全1: 11位ID必须完全匹配
  sFilterConfig.FilterMaskIdLow      = 0x0000;

  sFilterConfig.FilterFIFOAssignment = CAN_RX_FIFO0;  // 命中→塞进FIFO0(对应你勾的RX0中断)
  sFilterConfig.FilterActivation     = ENABLE;        // 激活本滤波器
  sFilterConfig.SlaveStartFilterBank = 14;            // CAN1/CAN2分界(单用CAN1, 填14即可)

  if (HAL_CAN_ConfigFilter(&hcan1, &sFilterConfig) != HAL_OK)
  {
      Error_Handler();   // 滤波器配置失败→卡死, 方便调试时发现
  }

  if (HAL_CAN_Start(&hcan1) != HAL_OK)   // 启动CAN, 进入正常通信态
  {
      Error_Handler();
  }

  // 打开"收到报文进FIFO0"的中断通知, 之后报文一到就触发回调
  if (HAL_CAN_ActivateNotification(&hcan1, CAN_IT_RX_FIFO0_MSG_PENDING) != HAL_OK)
  {
      Error_Handler();
  }
  /* USER CODE END CAN1_Init 2 */

}

static void MX_SPI1_Init(void)
{

  /* SPI1 parameter configuration*/
  hspi1.Instance = SPI1;
  hspi1.Init.Mode = SPI_MODE_MASTER;
  hspi1.Init.Direction = SPI_DIRECTION_2LINES;
  hspi1.Init.DataSize = SPI_DATASIZE_8BIT;
  hspi1.Init.CLKPolarity = SPI_POLARITY_LOW;
  hspi1.Init.CLKPhase = SPI_PHASE_2EDGE;
  hspi1.Init.NSS = SPI_NSS_SOFT;
  hspi1.Init.BaudRatePrescaler = SPI_BAUDRATEPRESCALER_16;
  hspi1.Init.FirstBit = SPI_FIRSTBIT_MSB;
  hspi1.Init.TIMode = SPI_TIMODE_DISABLE;
  hspi1.Init.CRCCalculation = SPI_CRCCALCULATION_DISABLE;
  hspi1.Init.CRCPolynomial = 10;
  if (HAL_SPI_Init(&hspi1) != HAL_OK)
  {
    Error_Handler();
  }

}

static void MX_TIM2_Init(void)
{

  TIM_MasterConfigTypeDef sMasterConfig = {0};
  TIM_OC_InitTypeDef sConfigOC = {0};

  htim2.Instance = TIM2;
  htim2.Init.Prescaler = 0;
  htim2.Init.CounterMode = TIM_COUNTERMODE_CENTERALIGNED3;
  htim2.Init.Period = 1800;
  htim2.Init.ClockDivision = TIM_CLOCKDIVISION_DIV1;
  htim2.Init.AutoReloadPreload = TIM_AUTORELOAD_PRELOAD_ENABLE;
  if (HAL_TIM_PWM_Init(&htim2) != HAL_OK)
  {
    Error_Handler();
  }
  sMasterConfig.MasterOutputTrigger = TIM_TRGO_UPDATE;
  sMasterConfig.MasterSlaveMode = TIM_MASTERSLAVEMODE_ENABLE;
  if (HAL_TIMEx_MasterConfigSynchronization(&htim2, &sMasterConfig) != HAL_OK)
  {
    Error_Handler();
  }
  sConfigOC.OCMode = TIM_OCMODE_PWM1;
  sConfigOC.Pulse = 900;
  sConfigOC.OCPolarity = TIM_OCPOLARITY_HIGH;
  sConfigOC.OCFastMode = TIM_OCFAST_DISABLE;
  if (HAL_TIM_PWM_ConfigChannel(&htim2, &sConfigOC, TIM_CHANNEL_3) != HAL_OK)
  {
    Error_Handler();
  }
  HAL_TIM_MspPostInit(&htim2);

}

static void MX_TIM3_Init(void)
{

  TIM_MasterConfigTypeDef sMasterConfig = {0};
  TIM_OC_InitTypeDef sConfigOC = {0};

  htim3.Instance = TIM3;
  htim3.Init.Prescaler = 0;
  htim3.Init.CounterMode = TIM_COUNTERMODE_CENTERALIGNED3;
  htim3.Init.Period = 1800;
  htim3.Init.ClockDivision = TIM_CLOCKDIVISION_DIV1;
  htim3.Init.AutoReloadPreload = TIM_AUTORELOAD_PRELOAD_ENABLE;
  if (HAL_TIM_PWM_Init(&htim3) != HAL_OK)
  {
    Error_Handler();
  }
  sMasterConfig.MasterOutputTrigger = TIM_TRGO_UPDATE;
  sMasterConfig.MasterSlaveMode = TIM_MASTERSLAVEMODE_ENABLE;
  if (HAL_TIMEx_MasterConfigSynchronization(&htim3, &sMasterConfig) != HAL_OK)
  {
    Error_Handler();
  }
  sConfigOC.OCMode = TIM_OCMODE_PWM1;
  sConfigOC.Pulse = 0;
  sConfigOC.OCPolarity = TIM_OCPOLARITY_HIGH;
  sConfigOC.OCFastMode = TIM_OCFAST_DISABLE;
  if (HAL_TIM_PWM_ConfigChannel(&htim3, &sConfigOC, TIM_CHANNEL_1) != HAL_OK)
  {
    Error_Handler();
  }
  sConfigOC.Pulse = 900;
  if (HAL_TIM_PWM_ConfigChannel(&htim3, &sConfigOC, TIM_CHANNEL_2) != HAL_OK)
  {
    Error_Handler();
  }
  HAL_TIM_MspPostInit(&htim3);

}

static void MX_USART2_UART_Init(void)
{

  huart2.Instance = USART2;
  huart2.Init.BaudRate = 115200;
  huart2.Init.WordLength = UART_WORDLENGTH_8B;
  huart2.Init.StopBits = UART_STOPBITS_1;
  huart2.Init.Parity = UART_PARITY_NONE;
  huart2.Init.Mode = UART_MODE_TX_RX;
  huart2.Init.HwFlowCtl = UART_HWCONTROL_NONE;
  huart2.Init.OverSampling = UART_OVERSAMPLING_16;
  if (HAL_UART_Init(&huart2) != HAL_OK)
  {
    Error_Handler();
  }

}

static void MX_DMA_Init(void)
{

  /* DMA controller clock enable */
  __HAL_RCC_DMA2_CLK_ENABLE();

  /* DMA interrupt init */
  /* DMA2_Stream0_IRQn interrupt configuration */
  HAL_NVIC_SetPriority(DMA2_Stream0_IRQn, 0, 0);
  HAL_NVIC_EnableIRQ(DMA2_Stream0_IRQn);
  /* DMA2_Stream2_IRQn interrupt configuration */
  HAL_NVIC_SetPriority(DMA2_Stream2_IRQn, 0, 2);
  HAL_NVIC_EnableIRQ(DMA2_Stream2_IRQn);
  /* DMA2_Stream3_IRQn interrupt configuration */
  HAL_NVIC_SetPriority(DMA2_Stream3_IRQn, 0, 2);
  HAL_NVIC_EnableIRQ(DMA2_Stream3_IRQn);

}

static void MX_GPIO_Init(void)
{
  GPIO_InitTypeDef GPIO_InitStruct = {0};

  /* GPIO Ports Clock Enable */
  __HAL_RCC_GPIOH_CLK_ENABLE();
  __HAL_RCC_GPIOA_CLK_ENABLE();
  __HAL_RCC_GPIOB_CLK_ENABLE();
  __HAL_RCC_GPIOC_CLK_ENABLE();

  /*Configure GPIO pin Output Level */
  HAL_GPIO_WritePin(EN_GATE_GPIO_Port, EN_GATE_Pin, GPIO_PIN_SET);

  /*Configure GPIO pin Output Level */
  HAL_GPIO_WritePin(CSn_GPIO_Port, CSn_Pin, GPIO_PIN_SET);

  /*Configure GPIO pin : EN_GATE_Pin */
  GPIO_InitStruct.Pin = EN_GATE_Pin;
  GPIO_InitStruct.Mode = GPIO_MODE_OUTPUT_PP;
  GPIO_InitStruct.Pull = GPIO_NOPULL;
  GPIO_InitStruct.Speed = GPIO_SPEED_FREQ_LOW;
  HAL_GPIO_Init(EN_GATE_GPIO_Port, &GPIO_InitStruct);

  /*Configure GPIO pin : CSn_Pin */
  GPIO_InitStruct.Pin = CSn_Pin;
  GPIO_InitStruct.Mode = GPIO_MODE_OUTPUT_PP;
  GPIO_InitStruct.Pull = GPIO_PULLUP;
  GPIO_InitStruct.Speed = GPIO_SPEED_FREQ_HIGH;
  HAL_GPIO_Init(CSn_GPIO_Port, &GPIO_InitStruct);

}

/* USER CODE BEGIN 4 */
#define THETA_INCREMENT_ISR  0.00176f

//void HAL_TIM_PeriodElapsedCallback(TIM_HandleTypeDef *htim)
//{
//    if (htim->Instance == TIM3)
//    {
//        // ===== 开环: 自己生成匀速旋转的电角度 =====
//        theta_force += open_loop_speed;
//        if (theta_force >= TWO_PI) theta_force -= TWO_PI;
//        if (theta_force < 0)       theta_force += TWO_PI;
//
//        float s = sinf(theta_force);
//        float c = cosf(theta_force);
//
//        // ===== 同时读编码器算真实电角度(只为观察,不参与驱动) =====
//        uint16_t raw = angle_raw_dma;
//        float theta_m = (float)raw / 16384.0f * TWO_PI;
//        float theta_e_enc = (theta_offset - theta_m) * POLE_PAIRS + theta_comp;
//        theta_e_enc = fmodf(theta_e_enc, TWO_PI);
//        if (theta_e_enc < 0) theta_e_enc += TWO_PI;
//        theta_e_global = theta_e_enc;   // 存编码器算的,给主循环对比
//
//        // ===== 电流采样(观察用) =====
//        float ia = ADC_TO_AMP(adc_buf[0], offset_A);
//        float ib = ADC_TO_AMP(adc_buf[1], offset_B);
//        i_alpha = ia;
//        i_beta  = (ia + 2.0f * ib) * 0.57735027f;
//        // 用强制角度做Park(看开环下的id/iq)
//        i_d =  i_alpha * c + i_beta * s;
//        i_q = -i_alpha * s + i_beta * c;
//
//        // ===== 开环电压: 纯q轴给电压,直接驱动 =====
//        float Ualpha = -open_loop_volt * s;   // Uq沿q轴: Uα=-Uq·sin, Uβ=Uq·cos
//        float Ubeta  =  open_loop_volt * c;
//        SVPWM(Ualpha, Ubeta);
//
//        // 踢DMA
//        static uint16_t kick_div = 0;
//        if (++kick_div >= 5) { kick_div = 0; AS5047_ReadAngle_DMA_Kick(); }
//    }
//}
void HAL_TIM_PeriodElapsedCallback(TIM_HandleTypeDef *htim)
{
    if (htim->Instance == TIM3)
    {
        // ===== ① 读上一拍DMA传回的角度 → 算电角度 =====
        uint16_t raw = angle_raw_dma;                       // 上一拍踢的DMA,已传回
        float theta_m = (float)raw / 16384.0f * TWO_PI;
//       float theta_e = (theta_offset - theta_m) * POLE_PAIRS;  // ★方向:你验证过的那个
//        float theta_e = (theta_offset - theta_m) * POLE_PAIRS + 1.5708f;  // +90°电角度补偿
        float theta_e = (theta_offset - theta_m) * POLE_PAIRS - theta_comp;
//        float theta_e = (theta_m - theta_offset) * POLE_PAIRS;
        theta_e = fmodf(theta_e, TWO_PI);
        if (theta_e < 0) theta_e += TWO_PI;
        theta_e_global = theta_e;   // 存全局,留给调试看
        float s = sinf(theta_e);
        float c = cosf(theta_e);

        // ===== Step2: 电流采样 → Clark → Park =====★新增
        float ia = ADC_TO_AMP(adc_buf[0], offset_A);
        float ib = ADC_TO_AMP(adc_buf[1], offset_B);
        i_alpha = ia;
        i_beta  = (ia + 2.0f * ib) * 0.57735027f;   // 1/√3
        i_d =  i_alpha * c + i_beta * s;
        i_q = -i_alpha * s + i_beta * c;
        delta_theta_dbg = atan2f(i_d, i_q);   // 反电动势法: 这个值=Δθ,对齐好应恒定
        // 电流环PI

        // ===== 转换点①：物理电流(A) → 标幺电流(pu) =====
        float id_pu = i_d * I_BASE_INV;
        float iq_pu = i_q * I_BASE_INV;
        float Ud = PI_Update(&pi_id, 0.0f    - id_pu);   // 新:标幺 − 标幺
        float Uq = PI_Update(&pi_iq, iq_ref  - iq_pu);   // 新:标幺 − 标幺
        float Uq_ff = Kff * omega_e;     // 反电势前馈(标幺)
        Uq_ff_dbg = Uq_ff;
        Uq = Uq + Uq_ff;
        if (Uq >  0.95f) Uq =  0.95f;
        if (Uq < -0.95f) Uq = -0.95f;
        // ===== 转换点②：标幺电压(pu) → 物理电压(V) =====
        float Ud_v = Ud * U_BASE;
        float Uq_v = Uq * U_BASE;

        float Ualpha = Ud_v * c - Uq_v * s;
        float Ubeta  = Ud_v * s + Uq_v * c;
        Ua_dbg = Ualpha;   // 临时:看逆Park输出
        Ub_dbg = Ubeta;
        SVPWM(Ualpha, Ubeta);
        // ===== ⑥ 踢下一拍DMA(降频:每50拍踢一次,验证重入假设) =====
        // ===== 速度估计(跟随θe更新节奏,分频5 → 10kHz) =====
        static uint16_t kick_div = 0;
                if (++kick_div >= 5)
                {
                    kick_div = 0;

//                    // ===== M法测速: 当前角度 vs N拍前角度 =====
//                    float theta_now = theta_e;
//                    float theta_old = theta_hist[hist_idx];   // 环形缓冲里最旧的(N拍前)
//
//                    // 角度差(过零处理)
//                    float dtheta = theta_now - theta_old;
//                    if (dtheta >  3.14159265f) dtheta -= TWO_PI;
//                    if (dtheta < -3.14159265f) dtheta += TWO_PI;
//
//                    // 总时间 = N拍 × (5中断×20µs) = SPEED_WIN × 0.0001s
//                    omega_raw = dtheta / (SPEED_WIN * 0.0001f);
//
//                    // 轻滤波即可(噪声已从源头降低)
//                    omega_e = 0.03f * omega_raw + 0.97f * omega_e;
//
//                    // 当前角度写入环形缓冲,指针前进
//                    theta_hist[hist_idx] = theta_now;
//                    hist_idx = (hist_idx + 1) % SPEED_WIN;
                    // ===== PLL观测器测速(替换M法) =====
//                     PLL_Update(&pll, theta_m);          // 喂机械角
//                     omega_e = -pll.omega_hat * POLE_PAIRS;  // 机械角速度→电角速度
//
//                    // 位置环用PLL的平滑角度(可选,先用编码器原始theta_m也行)
//                    // float theta_for_pos = pll.theta_hat;
//                    omega_ref=500;
//                    iq_ref = 0.0f;   // ★直接给恒定转矩电流, 不经速度环
//                    if(0)
//                    {       // ===== ★位置环 P (套在速度环外) ===== 新增
//                    // 误差用机械角(单圈最短路径), 输出乘POLE_PAIRS转成电角度ω_ref
//                    float theta_err = theta_target - theta_m;            // 机械角误差(rad)
//                    while (theta_err >  PI) theta_err -= TWO_PI;         // wrap到±π,走最短路
//                    while (theta_err < -PI) theta_err += TWO_PI;
////                    // ===== ★位置环死区: 误差在±ε内当作0,屏蔽编码器噪声 =====
////                    if (theta_err < POS_DEADBAND && theta_err > -POS_DEADBAND)
////                        theta_err = 0.0f;
//                    float omega_ref_mech = Kp_pos * theta_err;           // 机械角ω_ref(rad/s)
//                    if (omega_ref_mech >  omega_max_mech) omega_ref_mech =  omega_max_mech;
//                    if (omega_ref_mech < -omega_max_mech) omega_ref_mech = -omega_max_mech;
//
//                    omega_ref = omega_ref_mech * POLE_PAIRS;             // ★转电角度,喂速度环
//                    }
                    // 速度环PI
//                    iq_ref = PI_Update(&pi_speed, -(omega_ref - omega_e));

                    // ===== 单圈→多圈累加 =====
                    float dtheta_m = theta_m - theta_m_last;
                    if (dtheta_m >  PI) { dtheta_m -= TWO_PI; turns--; }   // 过0→2π边界(倒转)
                    if (dtheta_m < -PI) { dtheta_m += TWO_PI; turns++; }   // 过2π→0边界(正转)
                    theta_multi += dtheta_m;        // 累加真实增量
                    theta_m_last = theta_m;
                    // ===== 堵转检测(纯观测, 不动作) =====
                    // 判据: i_q在使劲(电流大) 且 theta_multi几乎没动 → 累加计数
                    float iq_pu_abs = i_q * I_BASE_INV;       // i_q转标幺
                    if (iq_pu_abs < 0) iq_pu_abs = -iq_pu_abs; // 取绝对值

                    float dmulti = theta_multi - theta_multi_last_stall;
                    if (dmulti < 0) dmulti = -dmulti;          // 位置变化绝对值

                    if (iq_pu_abs > STALL_IQ_THRESH && dmulti < STALL_MOVE_THRESH)
                    {
                        // 使劲了但没动 → 计数++
                        if (stall_counter < STALL_COUNT_MAX) stall_counter++;
                        if (stall_counter >= STALL_COUNT_MAX) stall_flag = 1;   // 持续够久 → 判堵转
                    }
                    else
                    {
                        // 任一条件不满足(没使劲 或 动了) → 计数清零, 解除标志
                        stall_counter = 0;
                        stall_flag = 0;
                        theta_multi_last_stall = theta_multi;   // ★加这行: 没堵转时, 基准跟着当前位置走
                    }

                    // ===== PLL测速(只为D项阻尼用, 可以重滤波) =====
                    PLL_Update(&pll, theta_m);

                    omega_e = pll.omega_hat * POLE_PAIRS;
                    // 给omega_e再加一层重滤波, 专门给D项用(慢没关系)
                    static float omega_filt = 0;
                    omega_filt = 0.9f * omega_filt + 0.1f * omega_e;
                    // ===== 指令缓动: 中间目标以恒定速率爬向最终目标(匀速运动) =====
                    float target_err = theta_target_final - theta_target;
                    if (target_err >  theta_ramp_rate)      theta_target += theta_ramp_rate;
                    else if (target_err < -theta_ramp_rate) theta_target -= theta_ramp_rate;
                    else                                    theta_target = theta_target_final;
                    // ===== 位置环: 多圈角, 误差限幅实现匀速 =====
                    // ===== 回零状态机(骨架, 逻辑后填) =====
                                        switch (homing_state)
                                        {
                                        case HOMING_SEARCH:
                                            // ① 力矩缓慢爬升(朝负方向=挡块方向)
                                            homing_torque -= HOMING_TORQUE_RAMP;
                                            if (homing_torque < -HOMING_TORQUE_MAX)
                                                homing_torque = -HOMING_TORQUE_MAX;   // 限幅

                                            // ② 检测突破: 累积位移超阈值 = 滑块动了
                                            float move = theta_multi - homing_start_pos;
                                            if (move < 0) move = -move;
                                            if (move > HOMING_BREAK_MOVE)
                                            {
                                                homing_t_break = homing_torque;   // 记录突破力矩
                                                homing_state = HOMING_CRUISE;     // 转巡航
                                            }

                                            // ③ 力矩到上限: 不立刻退出, 先顶住一段时间给机会突破
                                            if (homing_torque <= -HOMING_TORQUE_MAX)
                                            {
                                                homing_hold_counter++;
                                                if (homing_hold_counter >= HOMING_HOLD_MAX)
                                                {
                                                    // 顶住够久还没突破 → 真的推不动, 退出
                                                    homing_torque = 0.0f;
                                                    homing_hold_counter = 0;
                                                    homing_state = HOMING_IDLE;
                                                }
                                            }

                                            // ★把回零力矩输出给 torque_ref(让电机真的动)
                                            torque_ref = homing_torque;
                                            break;

                                            case HOMING_CRUISE:
                                                // TODO: 降力矩巡航, 撞挡块(stall_flag) → 转DONE
                                                // ① 降力矩: 突破后用突破力矩的60%, 防止加速狂奔
                                                torque_ref = homing_t_break * 0.6f;

                                                // ② 撞挡块检测: 堵转标志触发 → 回零完成
                                                if (stall_flag)
                                                {
                                                    homing_state = HOMING_DONE;
                                                }
                                                break;

                                            case HOMING_DONE:
                                                // 回零完成: 设零点, 切位置模式
                                                theta_multi = 0.0f;
                                                theta_multi_last_stall = 0.0f;
                                                theta_target_final = 0.0f;
                                                homing_torque = 0.0f;
                                                torque_ref = 0.0f;            // ★加: 停力矩, 别再顶挡块
                                                stall_flag = 0;               // ★加: 清堵转标志
                                                stall_counter = 0;
                                                homing_state = HOMING_IDLE;   // 回到IDLE
                                                // 注: 这里先不切位置模式, 框架阶段保持力矩模式观察
                                                break;

                                            case HOMING_IDLE:
                                            default:
                                                break;
                                        }
                    if (control_mode == MODE_TORQUE)
                    {
                        // ===== 力矩模式: 外部指令直接给 iq_ref(标幺) =====
                        iq_ref = torque_ref;
                        // ===== 力矩模式软件限位: 到边界时禁止继续往界外使力 =====
                        // (回零SEARCH/CRUISE期间不限, 否则回零撞不了挡块)
                        if (homing_state == HOMING_IDLE)
                        {
                            // 已到上限(左端) 且 还想往左(正iq) → 禁止
                            if (theta_multi > POS_LIMIT_MAX && iq_ref > 0.0f)
                                iq_ref = 0.0f;
                            // 已到下限(挡块) 且 还想往右(负iq) → 禁止
                            if (theta_multi < POS_LIMIT_MIN && iq_ref < 0.0f)
                                iq_ref = 0.0f;
                        }
                    }
                    else
                    {
                        // ===== 位置模式软件限位: clamp目标在安全行程内 =====
                          if (theta_target_final > POS_LIMIT_MAX) theta_target_final = POS_LIMIT_MAX;
                          if (theta_target_final < POS_LIMIT_MIN) theta_target_final = POS_LIMIT_MIN;
                    // ===== 缓动: 中间目标target以恒定速率爬向final(决定回正转速) =====
                                theta_target = theta_target_final;

                                        // ===== 位置环: 用完整误差跟踪target(不限幅, 力矩充足) =====
                                float theta_err = theta_target_final - theta_multi;

                                float err_max = 5.0f;
                                float theta_err_sat = theta_err;
                                if (theta_err_sat >  err_max) theta_err_sat =  err_max;
                                if (theta_err_sat < -err_max) theta_err_sat = -err_max;

                                if (theta_err < 0.6f && theta_err > -0.6f) {
                                    // 死区: 冻结, 保持力矩
                                    iq_ref = 0;

                                } else {
                                    pos_integral += Ki_pos * theta_err_sat;   // ★用限幅误差积分, 防windup
                                    if (pos_integral >  1.0f) pos_integral =  1.0f;   // 0.2/1.5
                                    if (pos_integral < -1.0f) pos_integral = -1.0f;

                                iq_ref = Kp_pos * theta_err_sat + pos_integral
                                         - Kd_pos * (omega_filt / POLE_PAIRS);
                            }
                    }
                            if (iq_ref >  1.5f) iq_ref =  1.5f;   // 1.5/1.5 = 标幺满量程
                            if (iq_ref < -1.5f) iq_ref = -1.5f;
                    // 踢DMA
                    AS5047_ReadAngle_DMA_Kick();
                }
    }
}
// ===== UART接收完成回调: 逐字符收, 遇\n解析角度 =====
void HAL_UART_RxCpltCallback(UART_HandleTypeDef *huart)
{
    if (huart->Instance == USART2)
    {rx_irq_count++;
    rx_byte_dbg = rx_byte;   // ★抓原始字节值
        if (rx_byte == '\n' || rx_byte == '\r')
        {
        	if (rx_cmd_idx > 0)
        	{
        	    rx_cmd_buf[rx_cmd_idx] = '\0';
        	    last_cmd_char = rx_cmd_buf[0];   // ★抓首字符
        	    last_cmd_len  = rx_cmd_idx;      // ★抓长度
        	    // ===== 命令解析: 单字符命令 vs 数字 =====
        	    if (rx_cmd_buf[0] == 'P' || rx_cmd_buf[0] == 'p')
        	    {
        	        SetControlMode(MODE_POSITION);     // 发 "P" → 位置模式
        	    }
        	    else if (rx_cmd_buf[0] == 'T' || rx_cmd_buf[0] == 't')
        	    {
        	        SetControlMode(MODE_TORQUE);       // 发 "T" → 力矩模式
        	    }
        	    else if (rx_cmd_buf[0] == 'H' || rx_cmd_buf[0] == 'h')   // ★新增
        	    {
        	        SetControlMode(MODE_TORQUE);       // 回零在力矩模式下做
        	        homing_state = HOMING_SEARCH;      // 启动回零状态机
        	        homing_torque = 0.0f;              // 力矩从0开始爬
        	        homing_start_pos = theta_multi;   // 记下回零起点
        	    }
        	    else
        	    {
        	        // 纯数字: 按当前模式分发
        	        float val = atof(rx_cmd_buf);
        	        if (control_mode == MODE_TORQUE)
        	            torque_ref = val;              // 力矩模式: 数字 = 力矩指令(标幺)
//        	            omega_ref = val;   // 临时: 数字=目标转速

        	        else
        	            theta_target_final = val;      // 位置模式: 数字 = 目标角(rad)
        	    }

        	    rx_cmd_idx = 0;
        	}
        }
        else   // ★加回这个分支:普通字符存进buffer
        {
            if (rx_cmd_idx < sizeof(rx_cmd_buf) - 1)
                rx_cmd_buf[rx_cmd_idx++] = rx_byte;
        }
        // ★关键: 重新启动下一字节接收(否则只收一次)
        HAL_UART_Receive_IT(&huart2, &rx_byte, 1);
    }
}

void HAL_CAN_RxFifo0MsgPendingCallback(CAN_HandleTypeDef *hcan)
{
    if (HAL_CAN_GetRxMessage(hcan, CAN_RX_FIFO0, &RxHeader, RxData) != HAL_OK)
    {
        return;
    }

    if (RxHeader.StdId == 0x101)
    {
        float_bytes_t conv;
        conv.b[0] = RxData[0];
        conv.b[1] = RxData[1];
        conv.b[2] = RxData[2];
        conv.b[3] = RxData[3];

        theta_target_final = conv.f;
    }
}
/* USER CODE END 4 */

void Error_Handler(void)
{
  __disable_irq();
  while (1)
  {
  }
}
